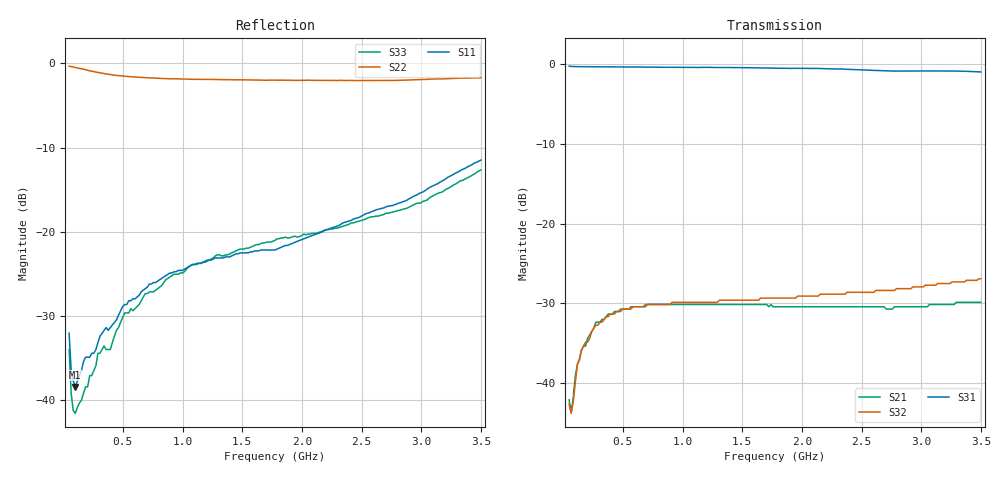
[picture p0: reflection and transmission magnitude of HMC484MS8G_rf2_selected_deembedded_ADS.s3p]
!Hittite Microwave Corporation
!12 Elizabeth Drive
!Chelmsford, MA 01824
!Tel: 978-250-3343
!Fax: 978-250-3373
!Device: HMC484MS8G, DC - 3 GHz GaAs MMIC 10 Watt T/R Switch in 8-lead MSOP grounded base package
!Misc: Port1=RFC, Port2= RF1, Port3=RF2, RF2 ON, Bias: +5VDC
# MHZ S MA R 50
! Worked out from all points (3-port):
!   201 points, 50 MHz to 3.5 GHz, reference 50 ohm
!   strongest paths, dB at 50 MHz, 912.5 MHz, 1.775 GHz, 2.638 GHz, 3.5 GHz:
!     S31: -0.2, -0.4, -0.5, -0.8, -0.9
!     S32: -42.7, -29.9, -29.4, -28.4, -26.9
!     S21: -42.2, -30.2, -30.5, -30.5, -29.9
!   lowest |S11| = -38.4 dB at 101.8 MHz (marker M1), VSWR 1.02, Z = 51.2 - j0.122 ohm
!   |S11| at or under -10 dB: start of sweep to end of sweep
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50  0.025 61.3  0.007609 69.9  0.976 -3.1
    0.0078 68.2  0.964 -19.8  0.007205 69.7
    0.976 -3.1  0.007359 70.5  0.02 80.9
67.25  0.015 25.0  0.006208 69.8  0.971 -3.3
       0.006464 67.1  0.959 -26.8  0.006469 63.9
       0.972 -3.3  0.006418 65.1  0.011 35.7
101.75  0.012 -5.7  0.01 73.6  0.969 -4.4
        0.011 74.9  0.946 -39.4  0.01 75.3
        0.97 -4.4  0.01 73.6  0.008359 -6.1
257  0.019 -54.8  0.022 45.2  0.968 -10.0
     0.022 45.3  0.896 -86.9  0.022 47.1
     0.968 -10.0  0.022 47.3  0.015 -51.7
412.25  0.028 -78.3  0.027 26.9  0.966 -15.8
        0.027 26.8  0.856 -118.7  0.027 29.9
        0.967 -15.7  0.027 30.0  0.022 -68.0
619.25  0.041 -99.7  0.03 11.7  0.964 -23.5
        0.03 11.7  0.83 -146.2  0.03 16.5
        0.965 -23.4  0.03 16.7  0.036 -88.1
1085  0.064 -130.0  0.031 -8.1  0.958 -40.6
      0.031 -8.1  0.806 176.7  0.032 0.2
      0.959 -40.6  0.032 0.3  0.064 -112.2
1775  0.078 -161.8  0.03 -26.1  0.948 -66.5
      0.03 -26.1  0.796 139.3  0.034 -13.3
      0.948 -66.4  0.034 -13.2  0.089 -140.4
2465  0.121 169.3  0.03 -38.6  0.929 -92.8
      0.03 -38.7  0.793 107.6  0.037 -24.5
      0.929 -92.8  0.037 -24.5  0.115 -173.8
3500  0.267 124.8  0.032 -53.0  0.898 -132.6
      0.032 -53.0  0.822 70.0  0.045 -41.7
      0.898 -132.6  0.045 -41.7  0.233 140.4
